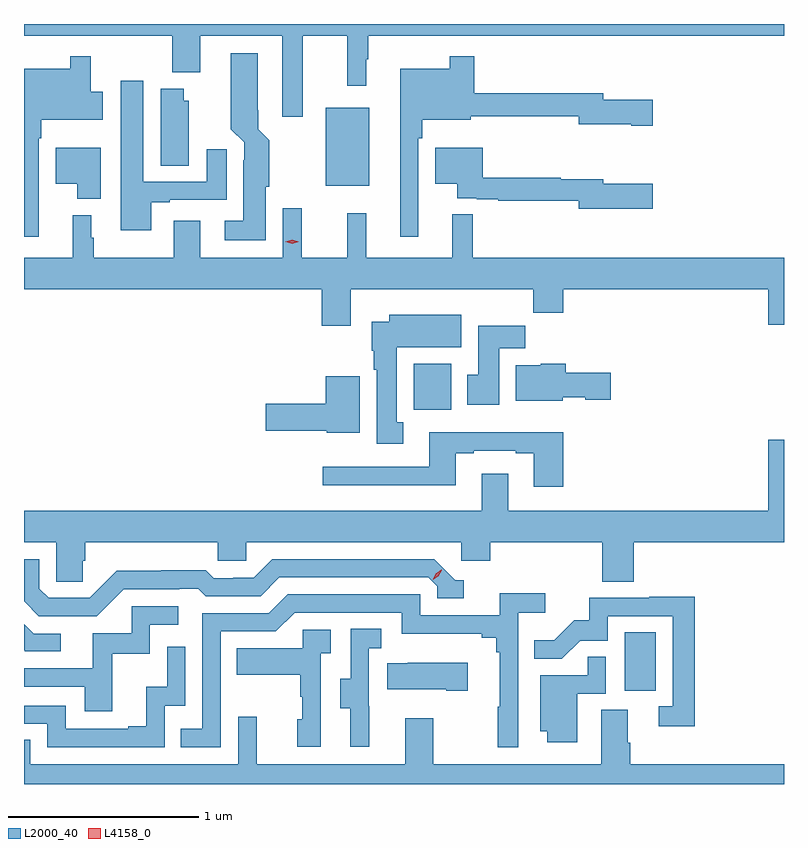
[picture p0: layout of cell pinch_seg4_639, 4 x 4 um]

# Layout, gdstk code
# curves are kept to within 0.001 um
import gdstk
lib = gdstk.Library(unit=1e-6, precision=1e-09)
def R(c, l, rs):  # rectangles x0, y0, x1, y1
    for r in rs: c.add(gdstk.rectangle(r[:2], r[2:], *l))
def P(c, l, *ps):  # polygons
    for p in ps: c.add(gdstk.Polygon(p, *l))
L2000_40 = (2000, 40)
L4158_0 = (4158, 0)

pinch_seg4_639 = lib.new_cell('pinch_seg4_639')
R(pinch_seg4_639, L2000_40, [(1051.364,750.75,1051.528,751.057), (1050.254,752.228,1050.451,752.47), (1049.792,753.407,1050.019,753.817)])
P(pinch_seg4_639, L2000_40, [(1049.671,754.196),(1049.905,754.196),(1049.905,753.933),(1050.004,753.933),(1050.004,754.073),(1050.016,754.073),(1050.016,754.196),(1052.203,754.196),(1052.203,754.259),(1048.203,754.259),(1048.203,754.196),(1048.984,754.196),(1048.984,754.004),(1049.131,754.004),(1049.131,754.196),(1049.561,754.196),(1049.561,753.771),(1049.671,753.771)],
  [(1049.476,753.402),(1049.494,753.402),(1049.494,753.647),(1049.435,753.706),(1049.434,754.105),(1049.291,754.105),(1049.291,753.706),(1049.361,753.636),(1049.361,753.542),(1049.357,753.542),(1049.357,753.223),(1049.259,753.223),(1049.259,753.122),(1049.476,753.122)],
  [(1050.279,753.659),(1050.299,753.659),(1050.299,753.755),(1050.553,753.755),(1050.553,753.774),(1051.124,753.774),(1051.124,753.731),(1051.4,753.731),(1051.4,753.724),(1051.513,753.724),(1051.513,753.861),(1051.252,753.861),(1051.252,753.895),(1050.572,753.895),(1050.572,754.09),(1050.444,754.09),(1050.444,754.024),(1050.182,754.024),(1050.182,753.138),(1050.279,753.138)],
  [(1048.281,753.659),(1048.294,753.659),(1048.294,753.755),(1048.618,753.755),(1048.618,753.903),(1048.555,753.903),(1048.555,754.09),(1048.446,754.09),(1048.446,754.024),(1048.203,754.024),(1048.203,753.138),(1048.281,753.138)],
  [(1048.873,753.321),(1048.969,753.321),(1048.969,753.333),(1049.269,753.333),(1049.269,753.601),(1049.165,753.601),(1049.165,753.429),(1048.831,753.429),(1048.831,753.961),(1048.712,753.961),(1048.712,753.174),(1048.873,753.174)],
  [(1049.071,753.855),(1049.044,753.855),(1049.044,753.919),(1048.922,753.919),(1048.922,753.514),(1049.071,753.514)],
  [(1048.606,753.607),(1048.37,753.607),(1048.37,753.419),(1048.484,753.419),(1048.484,753.338),(1048.606,753.338)],
  [(1051.513,753.417),(1051.252,753.417),(1051.252,753.443),(1051.028,753.443),(1051.028,753.451),(1050.617,753.451),(1050.617,753.607),(1050.368,753.607),(1050.368,753.419),(1050.482,753.419),(1050.482,753.342),(1050.586,753.342),(1050.586,753.336),(1050.7,753.336),(1050.7,753.33),(1051.124,753.33),(1051.124,753.287),(1051.513,753.287)],
  [(1049.923,752.864),(1050.883,752.864),(1050.883,752.74),(1051.04,752.74),(1051.04,752.864),(1052.12,752.864),(1052.12,752.676),(1052.203,752.676),(1052.203,753.028),(1050.566,753.028),(1050.566,753.257),(1050.458,753.257),(1050.458,753.028),(1050.005,753.028),(1050.005,753.262),(1049.905,753.262),(1049.905,753.028),(1049.664,753.028),(1049.664,753.289),(1049.565,753.289),(1049.565,753.028),(1049.131,753.028),(1049.131,753.223),(1048.991,753.223),(1048.991,753.028),(1048.57,753.028),(1048.57,753.135),(1048.558,753.135),(1048.558,753.253),(1048.46,753.253),(1048.46,753.028),(1048.203,753.028),(1048.203,752.864),(1049.771,752.864),(1049.771,752.67),(1049.923,752.67)],
  [(1050.199,752.162),(1050.166,752.162),(1050.166,752.558),(1050.505,752.558),(1050.505,752.728),(1050.125,752.728),(1050.125,752.692),(1050.032,752.692),(1050.032,752.538),(1050.044,752.538),(1050.044,752.438),(1050.059,752.438),(1050.059,752.049),(1050.199,752.049)],
  [(1050.703,752.552),(1050.842,752.552),(1050.842,752.67),(1050.593,752.67),(1050.593,752.412),(1050.536,752.412),(1050.536,752.256),(1050.703,752.256)],
  [(1051.038,752.294),(1051.158,752.294),(1051.158,752.282),(1051.291,752.282),(1051.291,752.424),(1051.055,752.424),(1051.055,752.47),(1050.924,752.47),(1050.924,752.464),(1050.791,752.464),(1050.791,752.276),(1051.038,752.276)],
  [(1049.971,752.404),(1049.792,752.404),(1049.792,752.261),(1049.475,752.261),(1049.475,752.119),(1049.796,752.119),(1049.796,752.108),(1049.971,752.108)],
  [(1051.04,752.11),(1050.335,752.11),(1050.335,751.929),(1049.775,751.929),(1049.775,751.832),(1050.475,751.832),(1050.475,752.001),(1050.571,752.001),(1050.571,752.013),(1050.791,752.013),(1050.791,752.001),(1050.887,752.001),(1050.887,751.824),(1051.04,751.824)],
  [(1048.511,751.434),(1048.526,751.434),(1048.526,751.532),(1049.223,751.532),(1049.223,751.434),(1049.373,751.434),(1049.373,751.532),(1050.504,751.532),(1050.504,751.434),(1050.656,751.434),(1050.656,751.532),(1051.247,751.532),(1051.247,751.324),(1051.412,751.324),(1051.412,751.532),(1052.203,751.532),(1052.203,752.071),(1052.12,752.071),(1052.12,751.696),(1050.751,751.696),(1050.751,751.891),(1050.611,751.891),(1050.611,751.696),(1048.203,751.696),(1048.203,751.532),(1048.374,751.532),(1048.374,751.324),(1048.511,751.324)],
  [(1048.728,751.284),(1049.021,751.284),(1049.021,751.287),(1049.12,751.287),(1049.159,751.248),(1049.448,751.248),(1049.547,751.347),(1050.33,751.347),(1050.378,751.299),(1050.378,751.236),(1050.517,751.236),(1050.517,751.332),(1050.474,751.332),(1050.363,751.443),(1049.51,751.443),(1049.411,751.344),(1049.304,751.344),(1049.304,751.341),(1049.201,751.341),(1049.159,751.384),(1048.926,751.384),(1048.926,751.381),(1048.69,751.381),(1048.548,751.239),(1048.332,751.239),(1048.284,751.287),(1048.284,751.443),(1048.203,751.443),(1048.203,751.221),(1048.281,751.143),(1048.587,751.143)],
  [(1049.238,751.062),(1049.529,751.062),(1049.628,751.161),(1050.192,751.161),(1050.192,751.049),(1050.611,751.049),(1050.611,751.03),(1050.688,751.03),(1050.688,750.953),(1050.707,750.953),(1050.707,750.665),(1050.696,750.665),(1050.696,750.453),(1050.804,750.453),(1050.804,751.16),(1050.946,751.16),(1050.946,751.262),(1050.707,751.262),(1050.707,751.146),(1050.288,751.146),(1050.288,751.257),(1049.591,751.257),(1049.492,751.158),(1049.142,751.158),(1049.142,750.549),(1049.029,750.549),(1049.029,750.453),(1049.238,750.453)],
  [(1051.733,751.244),(1051.495,751.244),(1051.495,751.239),(1051.177,751.239),(1051.177,751.122),(1051.1,751.122),(1050.993,751.015),(1050.889,751.015),(1050.889,750.917),(1051.033,750.917),(1051.13,751.014),(1051.275,751.014),(1051.275,751.143),(1051.617,751.143),(1051.617,750.669),(1051.545,750.669),(1051.545,750.564),(1051.733,750.564)],
  [(1048.667,750.945),(1048.866,750.945),(1048.866,751.098),(1049.014,751.098),(1049.014,751.194),(1048.77,751.194),(1048.77,751.053),(1048.565,751.053),(1048.565,750.867),(1048.203,750.867),(1048.203,750.771),(1048.523,750.771),(1048.523,750.642),(1048.667,750.642)],
  [(1048.396,751.05),(1048.254,751.05),(1048.203,751.101),(1048.203,750.962),(1048.208,750.957),(1048.396,750.957)],
  [(1050.02,750.669),(1050.018,750.669),(1050.018,750.973),(1050.082,750.973),(1050.082,751.076),(1049.922,751.076),(1049.922,750.813),(1049.867,750.813),(1049.867,750.658),(1049.921,750.658),(1049.921,750.456),(1050.02,750.456)],
  [(1049.766,750.947),(1049.818,750.947),(1049.818,751.071),(1049.67,751.071),(1049.67,750.973),(1049.323,750.973),(1049.323,750.833),(1049.658,750.833),(1049.658,750.719),(1049.668,750.719),(1049.668,750.6),(1049.642,750.6),(1049.642,750.456),(1049.766,750.456)],
  [(1048.944,750.672),(1049.052,750.672),(1049.052,750.982),(1048.956,750.982),(1048.956,750.77),(1048.847,750.77),(1048.847,750.562),(1048.751,750.562),(1048.751,750.549),(1048.422,750.549),(1048.422,750.672),(1048.203,750.672),(1048.203,750.576),(1048.326,750.576),(1048.326,750.453),(1048.944,750.453)],
  [(1051.114,750.735),(1051.266,750.735),(1051.266,750.929),(1051.171,750.929),(1051.171,750.831),(1050.92,750.831),(1050.92,750.536),(1050.956,750.536),(1050.956,750.48),(1051.114,750.48)],
  [(1050.538,750.898),(1050.223,750.898),(1050.223,750.895),(1050.115,750.895),(1050.115,750.758),(1050.425,750.758),(1050.425,750.751),(1050.538,750.751)],
  [(1052.203,750.364),(1051.394,750.364),(1051.394,750.476),(1051.381,750.476),(1051.381,750.65),(1051.241,750.65),(1051.241,750.364),(1050.357,750.364),(1050.357,750.604),(1050.209,750.604),(1050.209,750.364),(1049.429,750.364),(1049.429,750.613),(1049.331,750.613),(1049.331,750.364),(1048.236,750.364),(1048.236,750.491),(1048.203,750.491),(1048.203,750.259),(1052.203,750.259)])
P(pinch_seg4_639, L4158_0, [(1050.353,751.334),(1050.353,751.334),(1050.37,751.366),(1050.4,751.386),(1050.401,751.386),(1050.401,751.385),(1050.384,751.353),(1050.353,751.334)],
  [(1049.614,753.103),(1049.578,753.113),(1049.577,753.113),(1049.578,753.113),(1049.614,753.123),(1049.65,753.113),(1049.65,753.113),(1049.65,753.113)])

lib.write_gds('pinch_seg4_639.gds')
